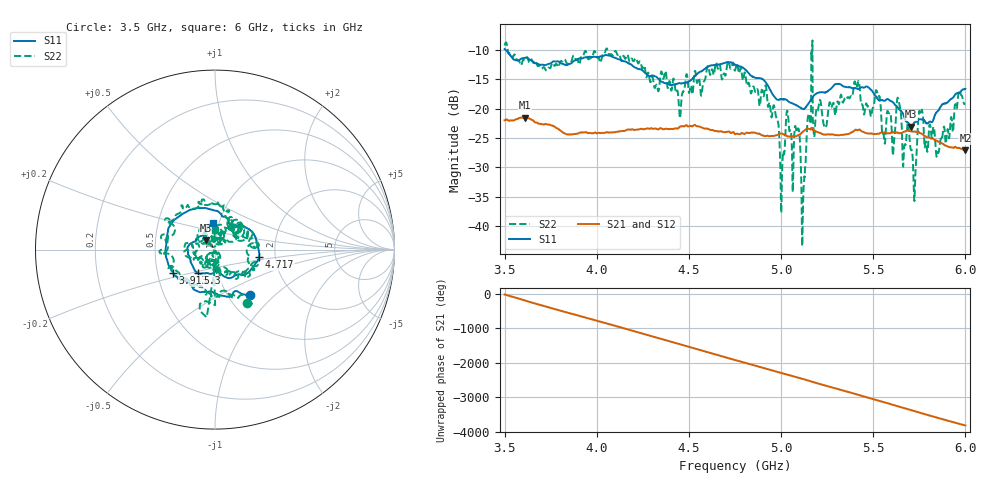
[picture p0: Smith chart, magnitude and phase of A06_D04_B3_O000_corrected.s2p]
! Created with skrf 1.9.0 (http://scikit-rf.org).
# Hz S RI R 50.0
!freq ReS11 ImS11 ReS21 ImS21 ReS12 ImS12 ReS22 ImS22
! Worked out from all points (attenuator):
!   1601 points, 3.5 GHz to 6 GHz, reference 50 ohm
!   highest |S21| = -21.51 dB at 3.611 GHz (marker M1); lowest = -27.1 dB at 6 GHz (marker M2)
!   lowest |S11| = -23.1 dB at 5.705 GHz (marker M3), VSWR 1.15, Z = 45.2 + j4.66 ohm
!   |S11| at or under -10 dB: 3.506 GHz to end of sweep
!   |S22| runs from -43.4 to -8.4 dB; largest |S21 - S12| = 0.0011
!   S11 on the Smith chart (normalised r, x): 3.5 GHz: 1.26, -0.71; 3.913 GHz: 0.60, -0.17; 4.717 GHz: 1.64, -0.14; 5.3 GHz: 0.80, -0.22; 6 GHz: 0.94, +0.28
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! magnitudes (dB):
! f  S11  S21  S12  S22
! 3.5 GHz  -9.9  -22.0  -22.0  -9.3
! 3.611 GHz  -11.4  -21.5  -21.5  -11.8
! 3.913 GHz  -11.5  -24.0  -24.0  -11.5
! 3.917 GHz  -11.5  -24.0  -24.0  -11.0
! 4.334 GHz  -15.0  -23.5  -23.4  -17.1
! 4.717 GHz  -12.1  -23.9  -23.9  -12.1
! 4.75 GHz  -12.5  -24.3  -24.2  -13.6
! 4.969 GHz  -18.2  -24.6  -24.5  -20.8
! 5.006 GHz  -18.4  -24.3  -24.2  -29.9
! 5.034 GHz  -18.6  -24.7  -24.6  -20.4
! 5.088 GHz  -19.5  -24.6  -24.6  -23.8
! 5.12 GHz  -20.1  -23.9  -23.8  -35.3
! 5.167 GHz  -18.2  -23.3  -23.2  -10.1
! 5.3 GHz  -15.8  -24.5  -24.4  -19.9
! 5.411 GHz  -16.6  -23.6  -23.6  -16.1
! 5.558 GHz  -18.7  -24.1  -24.0  -24.8
! 5.584 GHz  -18.5  -24.2  -24.1  -20.7
! 5.705 GHz  -23.1  -23.9  -23.8  -27.0
! 5.723 GHz  -22.3  -23.9  -23.8  -35.7
! 5.756 GHz  -21.8  -24.2  -24.1  -21.0
! 5.85 GHz  -20.4  -25.6  -25.5  -27.4
! 6 GHz  -16.6  -27.1  -27.0  -19.2
